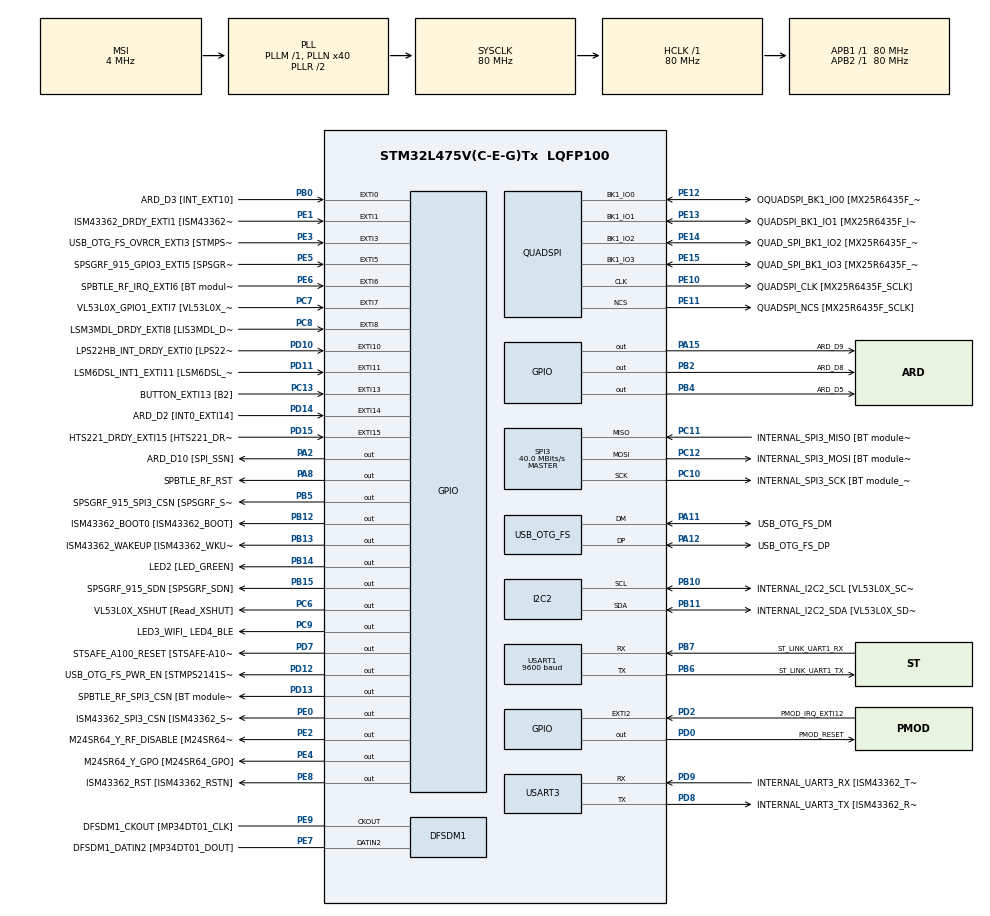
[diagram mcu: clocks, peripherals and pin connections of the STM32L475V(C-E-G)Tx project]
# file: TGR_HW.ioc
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Mcu.Family=STM32L4
Mcu.Name=STM32L475V(C-E-G)Tx
Mcu.Package=LQFP100
NVIC.PriorityGroup=NVIC_PRIORITYGROUP_4
NVIC.TIM6_DAC_IRQn=true\:1\:0\:true\:false\:true\:true
NVIC.USART1_IRQn=true\:2\:0\:true\:false\:true\:true
PA0.GPIO_Label=ARD_D1 [UART4_TX]
PA0.Signal=UART4_TX
PA1.GPIO_Label=ARD_D0 [UART4_RX]
PA1.Signal=UART4_RX
PA10.GPIO_Label=USB_OTG_FS_ID
PA10.Signal=USB_OTG_FS_ID
PA11.GPIO_Label=USB_OTG_FS_DM
PA11.Mode=Device_Only
PA11.Signal=USB_OTG_FS_DM
PA12.GPIO_Label=USB_OTG_FS_DP
PA12.Mode=Device_Only
PA12.Signal=USB_OTG_FS_DP
PA13\ (JTMS-SWDIO).GPIO_Label=SYS_JTMS_SWDIO
PA13\ (JTMS-SWDIO).Mode=Serial_Wire
PA13\ (JTMS-SWDIO).Signal=SYS_JTMS-SWDIO
PA14\ (JTCK-SWCLK).GPIO_Label=SYS_JTCK_SWCLK
PA14\ (JTCK-SWCLK).Mode=Serial_Wire
PA14\ (JTCK-SWCLK).Signal=SYS_JTCK-SWCLK
PA15\ (JTDI).GPIO_Label=ARD_D9
PA15\ (JTDI).Signal=GPIO_Output
PA2.GPIO_Label=ARD_D10 [SPI_SSN]
PA2.Signal=GPIO_Output
PA3.GPIO_Label=ARD_D4
PA3.Signal=S_TIM2_CH4
PA4.GPIO_Label=ARD_D7
PA4.Signal=ADCx_IN9
PA5.GPIO_Label=ARD_D13 [SPI1_SCK]
PA5.Signal=SPI1_SCK
PA6.GPIO_Label=ARD_D12 [SPI1_MISO]
PA6.Signal=SPI1_MISO
PA7.GPIO_Label=ARD_D11 [SPI1_MOSI]
PA7.Signal=SPI1_MOSI
PA8.GPIO_Label=SPBTLE_RF_RST
PA8.Signal=GPIO_Output
PA9.GPIO_Label=USB_OTG_FS_VBUS [STMPS2141STR_OUT]
PA9.Signal=USB_OTG_FS_VBUS
PB0.GPIO_Label=ARD_D3 [INT_EXT10]
PB0.Signal=GPXTI0
PB1.GPIO_Label=ARD_D6 [ADC1_IN6]
PB1.Signal=ADCx_IN16
PB10.GPIO_Label=INTERNAL_I2C2_SCL [VL53L0X_SCL]
PB10.Mode=I2C
PB10.Signal=I2C2_SCL
PB11.GPIO_Label=INTERNAL_I2C2_SDA [VL53L0X_SDA]
PB11.Mode=I2C
PB11.Signal=I2C2_SDA
PB12.GPIO_Label=ISM43362_BOOT0 [ISM43362_BOOT]
PB12.Signal=GPIO_Output
PB13.GPIO_Label=ISM43362_WAKEUP [ISM43362_WKUP]
PB13.Signal=GPIO_Output
PB14.GPIO_Label=LED2 [LED_GREEN]
PB14.Signal=GPIO_Output
PB15.GPIO_Label=SPSGRF_915_SDN [SPSGRF_SDN]
PB15.Signal=GPIO_Output
PB2.GPIO_Label=ARD_D8
PB2.Signal=GPIO_Output
PB3\ (JTDO-TRACESWO).GPIO_Label=SYS_JTD0_SWO
PB3\ (JTDO-TRACESWO).Signal=SYS_JTDO-SWO
PB4\ (NJTRST).GPIO_Label=ARD_D5
PB4\ (NJTRST).Signal=GPIO_Output
PB5.GPIO_Label=SPSGRF_915_SPI3_CSN [SPSGRF_SPI_CS]
PB5.Signal=GPIO_Output
PB6.GPIO_Label=ST_LINK_UART1_TX
PB6.Mode=Asynchronous
PB6.Signal=USART1_TX
PB7.GPIO_Label=ST_LINK_UART1_RX
PB7.Mode=Asynchronous
PB7.Signal=USART1_RX
PB8.GPIO_Label=ARD_D15 [I2C1_SCL]
PB8.Signal=I2C1_SCL
PB9.GPIO_Label=ARD_D14 [I2C1_SDA]
PB9.Signal=I2C1_SDA
PC0.GPIO_Label=ARD_A5 [ADC]
PC0.Signal=ADCx_IN1
PC1.GPIO_Label=ARD_A4 [ADC]
PC1.Signal=ADCx_IN2
PC10.GPIO_Label=INTERNAL_SPI3_SCK [BT module_SPI_SCLK]
PC10.Mode=Full_Duplex_Master
PC10.Signal=SPI3_SCK
PC11.GPIO_Label=INTERNAL_SPI3_MISO [BT module_SPI_MISO]
PC11.Mode=Full_Duplex_Master
PC11.Signal=SPI3_MISO
PC12.GPIO_Label=INTERNAL_SPI3_MOSI [BT module_SPI_MOSI]
PC12.Mode=Full_Duplex_Master
PC12.Signal=SPI3_MOSI
PC13.GPIO_Label=BUTTON_EXTI13 [B2]
PC13.GPIO_ModeDefaultEXTI=GPIO_MODE_IT_FALLING
PC13.Signal=GPXTI13
PC14-OSC32_IN\ (PC14).Mode=LSE-External-Oscillator
PC14-OSC32_IN\ (PC14).Signal=RCC_OSC32_IN
PC15-OSC32_OUT\ (PC15).Mode=LSE-External-Oscillator
PC15-OSC32_OUT\ (PC15).Signal=RCC_OSC32_OUT
PC2.GPIO_Label=ARD_A3 [ADC]
PC2.Signal=ADCx_IN3
PC3.GPIO_Label=ARD_A2 [ADC]
PC3.Signal=ADCx_IN4
PC4.GPIO_Label=ARD_A1 [ADC]
PC4.Signal=ADCx_IN13
PC5.GPIO_Label=ARD_A0 [ADC]
PC5.Signal=ADCx_IN14
PC6.GPIO_Label=VL53L0X_XSHUT [Read_XSHUT]
PC6.Signal=GPIO_Output
PC7.GPIO_Label=VL53L0X_GPIO1_EXTI7 [VL53L0X_GPIO1]
PC7.Signal=GPXTI7
PC8.GPIO_Label=LSM3MDL_DRDY_EXTI8 [LIS3MDL_DRDY]
PC8.Signal=GPXTI8
PC9.GPIO_Label=LED3_WIFI_ LED4_BLE
PC9.Signal=GPIO_Output
PD0.GPIO_Label=PMOD_RESET
PD0.Signal=GPIO_Output
PD1.GPIO_Label=PMOD_SPI2_SCK
PD1.Signal=SPI2_SCK
PD10.GPIO_Label=LPS22HB_INT_DRDY_EXTI0 [LPS22HB_INT_DRDY] 
PD10.Signal=GPXTI10
PD11.GPIO_Label=LSM6DSL_INT1_EXTI11 [LSM6DSL_INT1]
PD11.Signal=GPXTI11
PD12.GPIO_Label=USB_OTG_FS_PWR_EN [STMPS2141STR_EN]
PD12.Signal=GPIO_Output
PD13.GPIO_Label=SPBTLE_RF_SPI3_CSN [BT module_SPI_CS]
PD13.Signal=GPIO_Output
PD14.GPIO_Label=ARD_D2 [INT0_EXTI14]
PD14.Signal=GPXTI14
PD15.GPIO_Label=HTS221_DRDY_EXTI15 [HTS221_DRDY]
PD15.Signal=GPXTI15
PD2.GPIO_Label=PMOD_IRQ_EXTI12
PD2.Signal=GPXTI2
PD3.GPIO_Label=PMOD_UART2_CTS
PD3.Signal=USART2_CTS
PD4.GPIO_Label=PMOD_UART2_RTS
PD4.Signal=USART2_RTS
PD5.GPIO_Label=PMOD_UART2_TX
PD5.Signal=USART2_TX
PD6.GPIO_Label=PMOD_UART2_RX
PD6.Signal=USART2_RX
PD7.GPIO_Label=STSAFE_A100_RESET [STSAFE-A100_RESET]
PD7.Signal=GPIO_Output
PD8.GPIO_Label=INTERNAL_UART3_TX [ISM43362_RX]
PD8.Mode=Asynchronous
PD8.Signal=USART3_TX
PD9.GPIO_Label=INTERNAL_UART3_RX [ISM43362_TX]
PD9.Mode=Asynchronous
PD9.Signal=USART3_RX
PE0.GPIO_Label=ISM43362_SPI3_CSN [ISM43362_SSN]
PE0.Signal=GPIO_Output
PE1.GPIO_Label=ISM43362_DRDY_EXTI1 [ISM43362_DATARDY]
PE1.Signal=GPXTI1
PE10.GPIO_Label=QUADSPI_CLK [MX25R6435F_SCLK]
PE10.Mode=Single Bank
PE10.Signal=QUADSPI_CLK
PE11.GPIO_Label=QUADSPI_NCS [MX25R6435F_SCLK]
PE11.Mode=Single Bank
PE11.Signal=QUADSPI_NCS
PE12.GPIO_Label=OQUADSPI_BK1_IO0 [MX25R6435F_IO0]
PE12.Mode=Single Bank
PE12.Signal=QUADSPI_BK1_IO0
PE13.GPIO_Label=QUADSPI_BK1_IO1 [MX25R6435F_IO1]
PE13.Mode=Single Bank
PE13.Signal=QUADSPI_BK1_IO1
PE14.GPIO_Label=QUAD_SPI_BK1_IO2 [MX25R6435F_IO2]
PE14.Mode=Single Bank
PE14.Signal=QUADSPI_BK1_IO2
PE15.GPIO_Label=QUAD_SPI_BK1_IO3 [MX25R6435F_IO3]
PE15.Mode=Single Bank
PE15.Signal=QUADSPI_BK1_IO3
PE2.GPIO_Label=M24SR64_Y_RF_DISABLE [M24SR64_RFDIS]
PE2.Signal=GPIO_Output
PE3.GPIO_Label=USB_OTG_FS_OVRCR_EXTI3 [STMPS2141STR_FAULT]
PE3.Signal=GPXTI3
PE4.GPIO_Label=M24SR64_Y_GPO [M24SR64_GPO]
PE4.Signal=GPIO_Output
PE5.GPIO_Label=SPSGRF_915_GPIO3_EXTI5 [SPSGRF_GPIO_3]
PE5.Signal=GPXTI5
PE6.GPIO_Label=SPBTLE_RF_IRQ_EXTI6 [BT module_SPI_IRQ]
PE6.Signal=GPXTI6
PE7.GPIO_Label=DFSDM1_DATIN2 [MP34DT01_DOUT]
PE7.Signal=S_DATAIN2DFSDM1
PE8.GPIO_Label=ISM43362_RST [ISM43362_RSTN]
PE8.Signal=GPIO_Output
PE9.GPIO_Label=DFSDM1_CKOUT [MP34DT01_CLK]
PE9.Signal=S_CKOUTDFSDM1
ProjectManager.HeapSize=0x200
ProjectManager.StackSize=0x400
ProjectManager.TargetToolchain=TrueSTUDIO
RCC.ADCFreq_Value=48000000
RCC.AHBFreq_Value=80000000
RCC.APB1Freq_Value=80000000
RCC.APB1TimFreq_Value=80000000
RCC.APB2Freq_Value=80000000
RCC.APB2TimFreq_Value=80000000
RCC.CortexFreq_Value=80000000
RCC.HCLKFreq_Value=80000000
RCC.HSE_VALUE=8000000
RCC.HSI_VALUE=16000000
RCC.MSI_VALUE=4000000
RCC.PLLN=40
RCC.PLLSAI1N=24
RCC.SYSCLKFreq_VALUE=80000000
RCC.SYSCLKSource=RCC_SYSCLKSOURCE_PLLCLK
RCC.USBFreq_Value=48000000
RCC.VCOOutputFreq_Value=160000000
SH.ADCx_IN1.0=ADC1_IN1
SH.ADCx_IN13.0=ADC1_IN13
SH.ADCx_IN14.0=ADC1_IN14
SH.ADCx_IN16.0=ADC1_IN16
SH.ADCx_IN2.0=ADC1_IN2
SH.ADCx_IN3.0=ADC1_IN3
SH.ADCx_IN4.0=ADC1_IN4
SH.ADCx_IN9.0=ADC1_IN9
SH.S_CKOUTDFSDM1.0=DFSDM1_CKOUT,CKOUT
SH.S_CKOUTDFSDM1.1=DFSDM1_CKOUT,PDM_SPI_Input_from_ch12_and_Internal_Clock
SH.S_DATAIN2DFSDM1.0=DFSDM1_DATIN2,PDM_SPI_Input_from_ch12_and_Internal_Clock
SH.S_TIM2_CH4.0=TIM2_CH4
SPI3.CalculateBaudRate=40.0 MBits/s
SPI3.Direction=SPI_DIRECTION_2LINES
SPI3.Mode=SPI_MODE_MASTER
SPI3.VirtualType=VM_MASTER
TIM6.Period=40000
TIM6.Prescaler=999
USART1.BaudRate=9600
USART1.VirtualMode-Asynchronous=VM_ASYNC
USART3.VirtualMode-Asynchronous=VM_ASYNC
USB_OTG_FS.VirtualMode=Device_Only
VP_TIM6_VS_ClockSourceINT.Mode=Enable_Timer
board=B-L475E-IOT01A

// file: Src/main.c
/* USER CODE BEGIN Header */
/**
  ******************************************************************************
  * @file           : main.c
  * @brief          : Main program body
  ******************************************************************************
  ** This notice applies to any and all portions of this file
  * that are not between comment pairs USER CODE BEGIN and
  * USER CODE END. Other portions of this file, whether
  * inserted by the user or by software development tools
  * are owned by their respective copyright owners.
  *
  * COPYRIGHT(c) 2019 STMicroelectronics
  *
  * Redistribution and use in source and binary forms, with or without modification,
  * are permitted provided that the following conditions are met:
  *   1. Redistributions of source code must retain the above copyright notice,
  *      this list of conditions and the following disclaimer.
  *   2. Redistributions in binary form must reproduce the above copyright notice,
  *      this list of conditions and the following disclaimer in the documentation
  *      and/or other materials provided with the distribution.
  *   3. Neither the name of STMicroelectronics nor the names of its contributors
  *      may be used to endorse or promote products derived from this software
  *      without specific prior written permission.
  *
  * THIS SOFTWARE IS PROVIDED BY THE COPYRIGHT HOLDERS AND CONTRIBUTORS "AS IS"
  * AND ANY EXPRESS OR IMPLIED WARRANTIES, INCLUDING, BUT NOT LIMITED TO, THE
  * IMPLIED WARRANTIES OF MERCHANTABILITY AND FITNESS FOR A PARTICULAR PURPOSE ARE
  * DISCLAIMED. IN NO EVENT SHALL THE COPYRIGHT HOLDER OR CONTRIBUTORS BE LIABLE
  * FOR ANY DIRECT, INDIRECT, INCIDENTAL, SPECIAL, EXEMPLARY, OR CONSEQUENTIAL
  * DAMAGES (INCLUDING, BUT NOT LIMITED TO, PROCUREMENT OF SUBSTITUTE GOODS OR
  * SERVICES; LOSS OF USE, DATA, OR PROFITS; OR BUSINESS INTERRUPTION) HOWEVER
  * CAUSED AND ON ANY THEORY OF LIABILITY, WHETHER IN CONTRACT, STRICT LIABILITY,
  * OR TORT (INCLUDING NEGLIGENCE OR OTHERWISE) ARISING IN ANY WAY OUT OF THE USE
  * OF THIS SOFTWARE, EVEN IF ADVISED OF THE POSSIBILITY OF SUCH DAMAGE.
  *
  ******************************************************************************
  */
/* USER CODE END Header */

#include "main.h"

DFSDM_Channel_HandleTypeDef hdfsdm1_channel1;

I2C_HandleTypeDef hi2c2;

QSPI_HandleTypeDef hqspi;

SPI_HandleTypeDef hspi3;

TIM_HandleTypeDef htim6;

UART_HandleTypeDef huart1;
UART_HandleTypeDef huart3;

PCD_HandleTypeDef hpcd_USB_OTG_FS;

void SystemClock_Config(void);
static void MX_GPIO_Init(void);
static void MX_DFSDM1_Init(void);
static void MX_I2C2_Init(void);
static void MX_QUADSPI_Init(void);
static void MX_SPI3_Init(void);
static void MX_USART1_UART_Init(void);
static void MX_USART3_UART_Init(void);
static void MX_USB_OTG_FS_PCD_Init(void);
static void MX_TIM6_Init(void);

/* USER CODE BEGIN 0 */
float Pressure_Value;
float Hum_Value;
float Temp_Value;

extern uint8_t RX_BUFF[0];
/* USER CODE END 0 */

int main(void)
{

  /* MCU Configuration--------------------------------------------------------*/

  /* Reset of all peripherals, Initializes the Flash interface and the Systick. */
  HAL_Init();

  /* Configure the system clock */
  SystemClock_Config();

  /* Initialize all configured peripherals */
  MX_GPIO_Init();
  MX_DFSDM1_Init();
  MX_I2C2_Init();
  MX_QUADSPI_Init();
  MX_SPI3_Init();
  MX_USART1_UART_Init();
  MX_USART3_UART_Init();
  MX_USB_OTG_FS_PCD_Init();
  MX_TIM6_Init();
  /* USER CODE BEGIN 2 */
  BSP_PSENSOR_Init();
  BSP_HSENSOR_Init();
  BSP_TSENSOR_Init();
  BSP_ACCELERO_Init();
  BSP_GYRO_Init();
  BSP_MAGNETO_DeInit();

  HAL_TIM_Base_Start_IT(&htim6);

  HAL_UART_Transmit(&huart1,"Hello TGR 2019\r\n",16,5000);
  __HAL_UART_ENABLE_IT(&huart1,UART_IT_RXNE);
  /* USER CODE END 2 */

  /* Infinite loop */
  while (1)
  {
	  if(RX_BUFF[0] == '1')
	  {
		  Pressure_Value = BSP_PSENSOR_ReadPressure();
		  char str[50];
		  int tmp = sprintf(str, "Pressure is = %f nBar\r\n", Pressure_Value);
		  HAL_UART_Transmit(&huart1,(uint8_t*)(&str),tmp,5000);
		  RX_BUFF[0] = '\0';
	  }
	  else if(RX_BUFF[0] == '2')
	  {
		  Hum_Value = BSP_HSENSOR_ReadHumidity();
		  char str[50];
		  int tmp = sprintf(str, "Humidity is = %f %%\r\n", Hum_Value);
		  HAL_UART_Transmit(&huart1,(uint8_t*)(&str),tmp,5000);
		  RX_BUFF[0] = '\0';
	  }
	  else if(RX_BUFF[0] == '3')
	  {
		  Temp_Value = BSP_TSENSOR_ReadTemp();
		  char str[50];
		  int tmp = sprintf(str, "Temperature is = %f C\r\n", Temp_Value);
		  HAL_UART_Transmit(&huart1,(uint8_t*)(&str),tmp,5000);
		  RX_BUFF[0] = '\0';
	  }
	  else{}
		  //HAL_UART_Transmit(&huart1,"Hello TGR 2019\r\n",16,5000);
  }
}

void SystemClock_Config(void)
{
  RCC_OscInitTypeDef RCC_OscInitStruct = {0};
  RCC_ClkInitTypeDef RCC_ClkInitStruct = {0};
  RCC_PeriphCLKInitTypeDef PeriphClkInit = {0};

  /**Configure LSE Drive Capability
  */
  HAL_PWR_EnableBkUpAccess();
  __HAL_RCC_LSEDRIVE_CONFIG(RCC_LSEDRIVE_LOW);
  /**Initializes the CPU, AHB and APB busses clocks
  */
  RCC_OscInitStruct.OscillatorType = RCC_OSCILLATORTYPE_LSE|RCC_OSCILLATORTYPE_MSI;
  RCC_OscInitStruct.LSEState = RCC_LSE_ON;
  RCC_OscInitStruct.MSIState = RCC_MSI_ON;
  RCC_OscInitStruct.MSICalibrationValue = 0;
  RCC_OscInitStruct.MSIClockRange = RCC_MSIRANGE_6;
  RCC_OscInitStruct.PLL.PLLState = RCC_PLL_ON;
  RCC_OscInitStruct.PLL.PLLSource = RCC_PLLSOURCE_MSI;
  RCC_OscInitStruct.PLL.PLLM = 1;
  RCC_OscInitStruct.PLL.PLLN = 40;
  RCC_OscInitStruct.PLL.PLLP = RCC_PLLP_DIV7;
  RCC_OscInitStruct.PLL.PLLQ = RCC_PLLQ_DIV2;
  RCC_OscInitStruct.PLL.PLLR = RCC_PLLR_DIV2;
  if (HAL_RCC_OscConfig(&RCC_OscInitStruct) != HAL_OK)
  {
    Error_Handler();
  }
  /**Initializes the CPU, AHB and APB busses clocks
  */
  RCC_ClkInitStruct.ClockType = RCC_CLOCKTYPE_HCLK|RCC_CLOCKTYPE_SYSCLK
                              |RCC_CLOCKTYPE_PCLK1|RCC_CLOCKTYPE_PCLK2;
  RCC_ClkInitStruct.SYSCLKSource = RCC_SYSCLKSOURCE_PLLCLK;
  RCC_ClkInitStruct.AHBCLKDivider = RCC_SYSCLK_DIV1;
  RCC_ClkInitStruct.APB1CLKDivider = RCC_HCLK_DIV1;
  RCC_ClkInitStruct.APB2CLKDivider = RCC_HCLK_DIV1;

  if (HAL_RCC_ClockConfig(&RCC_ClkInitStruct, FLASH_LATENCY_4) != HAL_OK)
  {
    Error_Handler();
  }
  PeriphClkInit.PeriphClockSelection = RCC_PERIPHCLK_USART1|RCC_PERIPHCLK_USART3
                              |RCC_PERIPHCLK_I2C2|RCC_PERIPHCLK_DFSDM1
                              |RCC_PERIPHCLK_USB;
  PeriphClkInit.Usart1ClockSelection = RCC_USART1CLKSOURCE_PCLK2;
  PeriphClkInit.Usart3ClockSelection = RCC_USART3CLKSOURCE_PCLK1;
  PeriphClkInit.I2c2ClockSelection = RCC_I2C2CLKSOURCE_PCLK1;
  PeriphClkInit.Dfsdm1ClockSelection = RCC_DFSDM1CLKSOURCE_PCLK;
  PeriphClkInit.UsbClockSelection = RCC_USBCLKSOURCE_PLLSAI1;
  PeriphClkInit.PLLSAI1.PLLSAI1Source = RCC_PLLSOURCE_MSI;
  PeriphClkInit.PLLSAI1.PLLSAI1M = 1;
  PeriphClkInit.PLLSAI1.PLLSAI1N = 24;
  PeriphClkInit.PLLSAI1.PLLSAI1P = RCC_PLLP_DIV7;
  PeriphClkInit.PLLSAI1.PLLSAI1Q = RCC_PLLQ_DIV2;
  PeriphClkInit.PLLSAI1.PLLSAI1R = RCC_PLLR_DIV2;
  PeriphClkInit.PLLSAI1.PLLSAI1ClockOut = RCC_PLLSAI1_48M2CLK;
  if (HAL_RCCEx_PeriphCLKConfig(&PeriphClkInit) != HAL_OK)
  {
    Error_Handler();
  }
  /**Configure the main internal regulator output voltage
  */
  if (HAL_PWREx_ControlVoltageScaling(PWR_REGULATOR_VOLTAGE_SCALE1) != HAL_OK)
  {
    Error_Handler();
  }
  /**Enable MSI Auto calibration
  */
  HAL_RCCEx_EnableMSIPLLMode();
}

static void MX_DFSDM1_Init(void)
{

  hdfsdm1_channel1.Instance = DFSDM1_Channel1;
  hdfsdm1_channel1.Init.OutputClock.Activation = ENABLE;
  hdfsdm1_channel1.Init.OutputClock.Selection = DFSDM_CHANNEL_OUTPUT_CLOCK_SYSTEM;
  hdfsdm1_channel1.Init.OutputClock.Divider = 2;
  hdfsdm1_channel1.Init.Input.Multiplexer = DFSDM_CHANNEL_EXTERNAL_INPUTS;
  hdfsdm1_channel1.Init.Input.DataPacking = DFSDM_CHANNEL_STANDARD_MODE;
  hdfsdm1_channel1.Init.Input.Pins = DFSDM_CHANNEL_FOLLOWING_CHANNEL_PINS;
  hdfsdm1_channel1.Init.SerialInterface.Type = DFSDM_CHANNEL_SPI_RISING;
  hdfsdm1_channel1.Init.SerialInterface.SpiClock = DFSDM_CHANNEL_SPI_CLOCK_INTERNAL;
  hdfsdm1_channel1.Init.Awd.FilterOrder = DFSDM_CHANNEL_FASTSINC_ORDER;
  hdfsdm1_channel1.Init.Awd.Oversampling = 1;
  hdfsdm1_channel1.Init.Offset = 0;
  hdfsdm1_channel1.Init.RightBitShift = 0x00;
  if (HAL_DFSDM_ChannelInit(&hdfsdm1_channel1) != HAL_OK)
  {
    Error_Handler();
  }

}

static void MX_I2C2_Init(void)
{

  hi2c2.Instance = I2C2;
  hi2c2.Init.Timing = 0x10909CEC;
  hi2c2.Init.OwnAddress1 = 0;
  hi2c2.Init.AddressingMode = I2C_ADDRESSINGMODE_7BIT;
  hi2c2.Init.DualAddressMode = I2C_DUALADDRESS_DISABLE;
  hi2c2.Init.OwnAddress2 = 0;
  hi2c2.Init.OwnAddress2Masks = I2C_OA2_NOMASK;
  hi2c2.Init.GeneralCallMode = I2C_GENERALCALL_DISABLE;
  hi2c2.Init.NoStretchMode = I2C_NOSTRETCH_DISABLE;
  if (HAL_I2C_Init(&hi2c2) != HAL_OK)
  {
    Error_Handler();
  }
  /**Configure Analogue filter
  */
  if (HAL_I2CEx_ConfigAnalogFilter(&hi2c2, I2C_ANALOGFILTER_ENABLE) != HAL_OK)
  {
    Error_Handler();
  }
  /**Configure Digital filter
  */
  if (HAL_I2CEx_ConfigDigitalFilter(&hi2c2, 0) != HAL_OK)
  {
    Error_Handler();
  }

}

static void MX_QUADSPI_Init(void)
{

  /* QUADSPI parameter configuration*/
  hqspi.Instance = QUADSPI;
  hqspi.Init.ClockPrescaler = 255;
  hqspi.Init.FifoThreshold = 1;
  hqspi.Init.SampleShifting = QSPI_SAMPLE_SHIFTING_NONE;
  hqspi.Init.FlashSize = 1;
  hqspi.Init.ChipSelectHighTime = QSPI_CS_HIGH_TIME_1_CYCLE;
  hqspi.Init.ClockMode = QSPI_CLOCK_MODE_0;
  if (HAL_QSPI_Init(&hqspi) != HAL_OK)
  {
    Error_Handler();
  }

}

static void MX_SPI3_Init(void)
{

  /* SPI3 parameter configuration*/
  hspi3.Instance = SPI3;
  hspi3.Init.Mode = SPI_MODE_MASTER;
  hspi3.Init.Direction = SPI_DIRECTION_2LINES;
  hspi3.Init.DataSize = SPI_DATASIZE_4BIT;
  hspi3.Init.CLKPolarity = SPI_POLARITY_LOW;
  hspi3.Init.CLKPhase = SPI_PHASE_1EDGE;
  hspi3.Init.NSS = SPI_NSS_SOFT;
  hspi3.Init.BaudRatePrescaler = SPI_BAUDRATEPRESCALER_2;
  hspi3.Init.FirstBit = SPI_FIRSTBIT_MSB;
  hspi3.Init.TIMode = SPI_TIMODE_DISABLE;
  hspi3.Init.CRCCalculation = SPI_CRCCALCULATION_DISABLE;
  hspi3.Init.CRCPolynomial = 7;
  hspi3.Init.CRCLength = SPI_CRC_LENGTH_DATASIZE;
  hspi3.Init.NSSPMode = SPI_NSS_PULSE_ENABLE;
  if (HAL_SPI_Init(&hspi3) != HAL_OK)
  {
    Error_Handler();
  }

}

static void MX_TIM6_Init(void)
{

  TIM_MasterConfigTypeDef sMasterConfig = {0};

  htim6.Instance = TIM6;
  htim6.Init.Prescaler = 999;
  htim6.Init.CounterMode = TIM_COUNTERMODE_UP;
  htim6.Init.Period = 40000;
  htim6.Init.AutoReloadPreload = TIM_AUTORELOAD_PRELOAD_DISABLE;
  if (HAL_TIM_Base_Init(&htim6) != HAL_OK)
  {
    Error_Handler();
  }
  sMasterConfig.MasterOutputTrigger = TIM_TRGO_RESET;
  sMasterConfig.MasterSlaveMode = TIM_MASTERSLAVEMODE_DISABLE;
  if (HAL_TIMEx_MasterConfigSynchronization(&htim6, &sMasterConfig) != HAL_OK)
  {
    Error_Handler();
  }

}

static void MX_USART1_UART_Init(void)
{

  huart1.Instance = USART1;
  huart1.Init.BaudRate = 9600;
  huart1.Init.WordLength = UART_WORDLENGTH_8B;
  huart1.Init.StopBits = UART_STOPBITS_1;
  huart1.Init.Parity = UART_PARITY_NONE;
  huart1.Init.Mode = UART_MODE_TX_RX;
  huart1.Init.HwFlowCtl = UART_HWCONTROL_NONE;
  huart1.Init.OverSampling = UART_OVERSAMPLING_16;
  huart1.Init.OneBitSampling = UART_ONE_BIT_SAMPLE_DISABLE;
  huart1.AdvancedInit.AdvFeatureInit = UART_ADVFEATURE_NO_INIT;
  if (HAL_UART_Init(&huart1) != HAL_OK)
  {
    Error_Handler();
  }

}

static void MX_USART3_UART_Init(void)
{

  huart3.Instance = USART3;
  huart3.Init.BaudRate = 115200;
  huart3.Init.WordLength = UART_WORDLENGTH_8B;
  huart3.Init.StopBits = UART_STOPBITS_1;
  huart3.Init.Parity = UART_PARITY_NONE;
  huart3.Init.Mode = UART_MODE_TX_RX;
  huart3.Init.HwFlowCtl = UART_HWCONTROL_NONE;
  huart3.Init.OverSampling = UART_OVERSAMPLING_16;
  huart3.Init.OneBitSampling = UART_ONE_BIT_SAMPLE_DISABLE;
  huart3.AdvancedInit.AdvFeatureInit = UART_ADVFEATURE_NO_INIT;
  if (HAL_UART_Init(&huart3) != HAL_OK)
  {
    Error_Handler();
  }

}

static void MX_USB_OTG_FS_PCD_Init(void)
{

  hpcd_USB_OTG_FS.Instance = USB_OTG_FS;
  hpcd_USB_OTG_FS.Init.dev_endpoints = 6;
  hpcd_USB_OTG_FS.Init.speed = PCD_SPEED_FULL;
  hpcd_USB_OTG_FS.Init.ep0_mps = DEP0CTL_MPS_64;
  hpcd_USB_OTG_FS.Init.phy_itface = PCD_PHY_EMBEDDED;
  hpcd_USB_OTG_FS.Init.Sof_enable = DISABLE;
  hpcd_USB_OTG_FS.Init.low_power_enable = DISABLE;
  hpcd_USB_OTG_FS.Init.lpm_enable = DISABLE;
  hpcd_USB_OTG_FS.Init.battery_charging_enable = DISABLE;
  hpcd_USB_OTG_FS.Init.use_dedicated_ep1 = DISABLE;
  hpcd_USB_OTG_FS.Init.vbus_sensing_enable = DISABLE;
  if (HAL_PCD_Init(&hpcd_USB_OTG_FS) != HAL_OK)
  {
    Error_Handler();
  }

}

static void MX_GPIO_Init(void)
{
  GPIO_InitTypeDef GPIO_InitStruct = {0};

  /* GPIO Ports Clock Enable */
  __HAL_RCC_GPIOE_CLK_ENABLE();
  __HAL_RCC_GPIOC_CLK_ENABLE();
  __HAL_RCC_GPIOA_CLK_ENABLE();
  __HAL_RCC_GPIOB_CLK_ENABLE();
  __HAL_RCC_GPIOD_CLK_ENABLE();

  /*Configure GPIO pin Output Level */
  HAL_GPIO_WritePin(GPIOE, M24SR64_Y_RF_DISABLE_Pin|M24SR64_Y_GPO_Pin|ISM43362_RST_Pin|ISM43362_SPI3_CSN_Pin, GPIO_PIN_RESET);

  /*Configure GPIO pin Output Level */
  HAL_GPIO_WritePin(GPIOA, ARD_D10_Pin|SPBTLE_RF_RST_Pin|ARD_D9_Pin, GPIO_PIN_RESET);

  /*Configure GPIO pin Output Level */
  HAL_GPIO_WritePin(GPIOB, ARD_D8_Pin|ISM43362_BOOT0_Pin|ISM43362_WAKEUP_Pin|LED2_Pin
                          |SPSGRF_915_SDN_Pin|ARD_D5_Pin|SPSGRF_915_SPI3_CSN_Pin, GPIO_PIN_RESET);

  /*Configure GPIO pin Output Level */
  HAL_GPIO_WritePin(GPIOD, USB_OTG_FS_PWR_EN_Pin|SPBTLE_RF_SPI3_CSN_Pin|PMOD_RESET_Pin|STSAFE_A100_RESET_Pin, GPIO_PIN_RESET);

  /*Configure GPIO pin Output Level */
  HAL_GPIO_WritePin(GPIOC, VL53L0X_XSHUT_Pin|LED3_WIFI__LED4_BLE_Pin, GPIO_PIN_RESET);

  /*Configure GPIO pins : M24SR64_Y_RF_DISABLE_Pin M24SR64_Y_GPO_Pin ISM43362_RST_Pin ISM43362_SPI3_CSN_Pin */
  GPIO_InitStruct.Pin = M24SR64_Y_RF_DISABLE_Pin|M24SR64_Y_GPO_Pin|ISM43362_RST_Pin|ISM43362_SPI3_CSN_Pin;
  GPIO_InitStruct.Mode = GPIO_MODE_OUTPUT_PP;
  GPIO_InitStruct.Pull = GPIO_NOPULL;
  GPIO_InitStruct.Speed = GPIO_SPEED_FREQ_LOW;
  HAL_GPIO_Init(GPIOE, &GPIO_InitStruct);

  /*Configure GPIO pins : USB_OTG_FS_OVRCR_EXTI3_Pin SPSGRF_915_GPIO3_EXTI5_Pin SPBTLE_RF_IRQ_EXTI6_Pin ISM43362_DRDY_EXTI1_Pin */
  GPIO_InitStruct.Pin = USB_OTG_FS_OVRCR_EXTI3_Pin|SPSGRF_915_GPIO3_EXTI5_Pin|SPBTLE_RF_IRQ_EXTI6_Pin|ISM43362_DRDY_EXTI1_Pin;
  GPIO_InitStruct.Mode = GPIO_MODE_IT_RISING;
  GPIO_InitStruct.Pull = GPIO_NOPULL;
  HAL_GPIO_Init(GPIOE, &GPIO_InitStruct);

  /*Configure GPIO pin : BUTTON_EXTI13_Pin */
  GPIO_InitStruct.Pin = BUTTON_EXTI13_Pin;
  GPIO_InitStruct.Mode = GPIO_MODE_IT_FALLING;
  GPIO_InitStruct.Pull = GPIO_NOPULL;
  HAL_GPIO_Init(BUTTON_EXTI13_GPIO_Port, &GPIO_InitStruct);

  /*Configure GPIO pins : ARD_A5_Pin ARD_A4_Pin ARD_A3_Pin ARD_A2_Pin
                           ARD_A1_Pin ARD_A0_Pin */
  GPIO_InitStruct.Pin = ARD_A5_Pin|ARD_A4_Pin|ARD_A3_Pin|ARD_A2_Pin
                          |ARD_A1_Pin|ARD_A0_Pin;
  GPIO_InitStruct.Mode = GPIO_MODE_ANALOG_ADC_CONTROL;
  GPIO_InitStruct.Pull = GPIO_NOPULL;
  HAL_GPIO_Init(GPIOC, &GPIO_InitStruct);

  /*Configure GPIO pins : ARD_D1_Pin ARD_D0_Pin */
  GPIO_InitStruct.Pin = ARD_D1_Pin|ARD_D0_Pin;
  GPIO_InitStruct.Mode = GPIO_MODE_AF_PP;
  GPIO_InitStruct.Pull = GPIO_NOPULL;
  GPIO_InitStruct.Speed = GPIO_SPEED_FREQ_VERY_HIGH;
  GPIO_InitStruct.Alternate = GPIO_AF8_UART4;
  HAL_GPIO_Init(GPIOA, &GPIO_InitStruct);

  /*Configure GPIO pins : ARD_D10_Pin SPBTLE_RF_RST_Pin ARD_D9_Pin */
  GPIO_InitStruct.Pin = ARD_D10_Pin|SPBTLE_RF_RST_Pin|ARD_D9_Pin;
  GPIO_InitStruct.Mode = GPIO_MODE_OUTPUT_PP;
  GPIO_InitStruct.Pull = GPIO_NOPULL;
  GPIO_InitStruct.Speed = GPIO_SPEED_FREQ_LOW;
  HAL_GPIO_Init(GPIOA, &GPIO_InitStruct);

  /*Configure GPIO pin : ARD_D4_Pin */
  GPIO_InitStruct.Pin = ARD_D4_Pin;
  GPIO_InitStruct.Mode = GPIO_MODE_AF_PP;
  GPIO_InitStruct.Pull = GPIO_NOPULL;
  GPIO_InitStruct.Speed = GPIO_SPEED_FREQ_LOW;
  GPIO_InitStruct.Alternate = GPIO_AF1_TIM2;
  HAL_GPIO_Init(ARD_D4_GPIO_Port, &GPIO_InitStruct);

  /*Configure GPIO pin : ARD_D7_Pin */
  GPIO_InitStruct.Pin = ARD_D7_Pin;
  GPIO_InitStruct.Mode = GPIO_MODE_ANALOG_ADC_CONTROL;
  GPIO_InitStruct.Pull = GPIO_NOPULL;
  HAL_GPIO_Init(ARD_D7_GPIO_Port, &GPIO_InitStruct);

  /*Configure GPIO pins : ARD_D13_Pin ARD_D12_Pin ARD_D11_Pin */
  GPIO_InitStruct.Pin = ARD_D13_Pin|ARD_D12_Pin|ARD_D11_Pin;
  GPIO_InitStruct.Mode = GPIO_MODE_AF_PP;
  GPIO_InitStruct.Pull = GPIO_NOPULL;
  GPIO_InitStruct.Speed = GPIO_SPEED_FREQ_VERY_HIGH;
  GPIO_InitStruct.Alternate = GPIO_AF5_SPI1;
  HAL_GPIO_Init(GPIOA, &GPIO_InitStruct);

  /*Configure GPIO pin : ARD_D3_Pin */
  GPIO_InitStruct.Pin = ARD_D3_Pin;
  GPIO_InitStruct.Mode = GPIO_MODE_IT_RISING;
  GPIO_InitStruct.Pull = GPIO_NOPULL;
  HAL_GPIO_Init(ARD_D3_GPIO_Port, &GPIO_InitStruct);

  /*Configure GPIO pin : ARD_D6_Pin */
  GPIO_InitStruct.Pin = ARD_D6_Pin;
  GPIO_InitStruct.Mode = GPIO_MODE_ANALOG_ADC_CONTROL;
  GPIO_InitStruct.Pull = GPIO_NOPULL;
  HAL_GPIO_Init(ARD_D6_GPIO_Port, &GPIO_InitStruct);

  /*Configure GPIO pins : ARD_D8_Pin ISM43362_BOOT0_Pin ISM43362_WAKEUP_Pin LED2_Pin
                           SPSGRF_915_SDN_Pin ARD_D5_Pin SPSGRF_915_SPI3_CSN_Pin */
  GPIO_InitStruct.Pin = ARD_D8_Pin|ISM43362_BOOT0_Pin|ISM43362_WAKEUP_Pin|LED2_Pin
                          |SPSGRF_915_SDN_Pin|ARD_D5_Pin|SPSGRF_915_SPI3_CSN_Pin;
  GPIO_InitStruct.Mode = GPIO_MODE_OUTPUT_PP;
  GPIO_InitStruct.Pull = GPIO_NOPULL;
  GPIO_InitStruct.Speed = GPIO_SPEED_FREQ_LOW;
  HAL_GPIO_Init(GPIOB, &GPIO_InitStruct);

  /*Configure GPIO pins : LPS22HB_INT_DRDY_EXTI0_Pin LSM6DSL_INT1_EXTI11_Pin ARD_D2_Pin HTS221_DRDY_EXTI15_Pin
                           PMOD_IRQ_EXTI12_Pin */
  GPIO_InitStruct.Pin = LPS22HB_INT_DRDY_EXTI0_Pin|LSM6DSL_INT1_EXTI11_Pin|ARD_D2_Pin|HTS221_DRDY_EXTI15_Pin
                          |PMOD_IRQ_EXTI12_Pin;
  GPIO_InitStruct.Mode = GPIO_MODE_IT_RISING;
  GPIO_InitStruct.Pull = GPIO_NOPULL;
  HAL_GPIO_Init(GPIOD, &GPIO_InitStruct);

  /*Configure GPIO pins : USB_OTG_FS_PWR_EN_Pin SPBTLE_RF_SPI3_CSN_Pin PMOD_RESET_Pin STSAFE_A100_RESET_Pin */
  GPIO_InitStruct.Pin = USB_OTG_FS_PWR_EN_Pin|SPBTLE_RF_SPI3_CSN_Pin|PMOD_RESET_Pin|STSAFE_A100_RESET_Pin;
  GPIO_InitStruct.Mode = GPIO_MODE_OUTPUT_PP;
  GPIO_InitStruct.Pull = GPIO_NOPULL;
  GPIO_InitStruct.Speed = GPIO_SPEED_FREQ_LOW;
  HAL_GPIO_Init(GPIOD, &GPIO_InitStruct);

  /*Configure GPIO pins : VL53L0X_XSHUT_Pin LED3_WIFI__LED4_BLE_Pin */
  GPIO_InitStruct.Pin = VL53L0X_XSHUT_Pin|LED3_WIFI__LED4_BLE_Pin;
  GPIO_InitStruct.Mode = GPIO_MODE_OUTPUT_PP;
  GPIO_InitStruct.Pull = GPIO_NOPULL;
  GPIO_InitStruct.Speed = GPIO_SPEED_FREQ_LOW;
  HAL_GPIO_Init(GPIOC, &GPIO_InitStruct);

  /*Configure GPIO pins : VL53L0X_GPIO1_EXTI7_Pin LSM3MDL_DRDY_EXTI8_Pin */
  GPIO_InitStruct.Pin = VL53L0X_GPIO1_EXTI7_Pin|LSM3MDL_DRDY_EXTI8_Pin;
  GPIO_InitStruct.Mode = GPIO_MODE_IT_RISING;
  GPIO_InitStruct.Pull = GPIO_NOPULL;
  HAL_GPIO_Init(GPIOC, &GPIO_InitStruct);

  /*Configure GPIO pin : PMOD_SPI2_SCK_Pin */
  GPIO_InitStruct.Pin = PMOD_SPI2_SCK_Pin;
  GPIO_InitStruct.Mode = GPIO_MODE_AF_PP;
  GPIO_InitStruct.Pull = GPIO_NOPULL;
  GPIO_InitStruct.Speed = GPIO_SPEED_FREQ_VERY_HIGH;
  GPIO_InitStruct.Alternate = GPIO_AF5_SPI2;
  HAL_GPIO_Init(PMOD_SPI2_SCK_GPIO_Port, &GPIO_InitStruct);

  /*Configure GPIO pins : PMOD_UART2_CTS_Pin PMOD_UART2_RTS_Pin PMOD_UART2_TX_Pin PMOD_UART2_RX_Pin */
  GPIO_InitStruct.Pin = PMOD_UART2_CTS_Pin|PMOD_UART2_RTS_Pin|PMOD_UART2_TX_Pin|PMOD_UART2_RX_Pin;
  GPIO_InitStruct.Mode = GPIO_MODE_AF_PP;
  GPIO_InitStruct.Pull = GPIO_NOPULL;
  GPIO_InitStruct.Speed = GPIO_SPEED_FREQ_VERY_HIGH;
  GPIO_InitStruct.Alternate = GPIO_AF7_USART2;
  HAL_GPIO_Init(GPIOD, &GPIO_InitStruct);

  /*Configure GPIO pins : ARD_D15_Pin ARD_D14_Pin */
  GPIO_InitStruct.Pin = ARD_D15_Pin|ARD_D14_Pin;
  GPIO_InitStruct.Mode = GPIO_MODE_AF_OD;
  GPIO_InitStruct.Pull = GPIO_PULLUP;
  GPIO_InitStruct.Speed = GPIO_SPEED_FREQ_VERY_HIGH;
  GPIO_InitStruct.Alternate = GPIO_AF4_I2C1;
  HAL_GPIO_Init(GPIOB, &GPIO_InitStruct);

}

/* USER CODE BEGIN 4 */
void HAL_TIM_PeriodElapsedCallback(TIM_HandleTypeDef *htim)
{
BSP_LED_Toggle(LED2);
}
/* USER CODE END 4 */

void Error_Handler(void)
{
}

/************************ (C) COPYRIGHT STMicroelectronics *****END OF FILE****/
